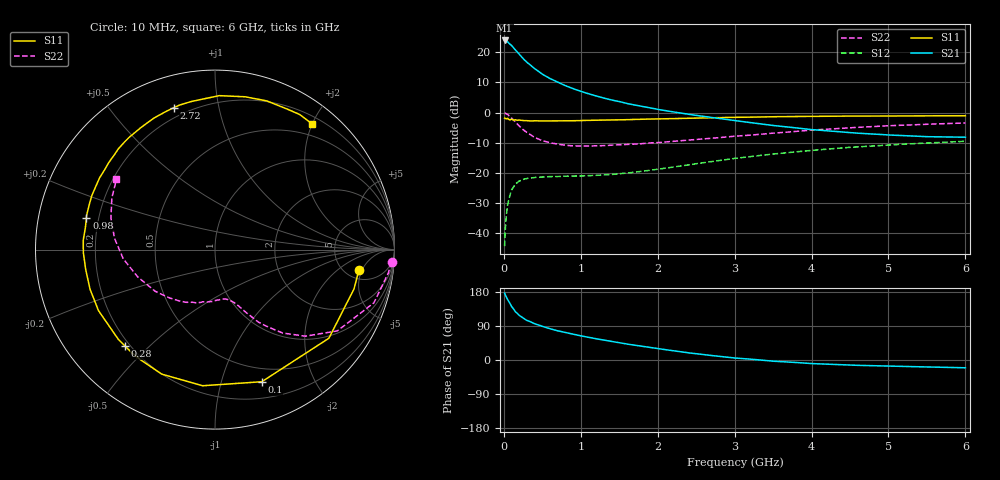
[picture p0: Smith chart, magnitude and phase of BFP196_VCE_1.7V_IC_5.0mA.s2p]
! Infineon Technologies  Discrete & RF Semiconductors
! BFP196
! VCE = 1.7 V,  IC = 5.0mA
! Common Emitter S-Parameters:  Jan 2016
# GHz  S  MA  R  50
!  f  S11  S21  S12  S22
! GHz  MAG  ANG  MAG  ANG  MAG  ANG  MAG  ANG
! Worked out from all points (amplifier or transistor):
!   210 points, 10 MHz to 6 GHz, reference 50 ohm
!   highest |S21| = 23.9 dB at 10 MHz (marker M1)
!   |S21| within 3 dB of that: start of sweep to 145.3 MHz
!   unconditionally stable (mu >= 1): 1.096 GHz to 3.394 GHz; 5.192951 GHz to 5.205737 GHz; 5.657 GHz to end of sweep
!   at 185 MHz: K = 0.20, MSG = 21.4 dB, |S12| = -23.0 dB
!   at 1.52 GHz: K = 1.20, MAG = 9.2 dB, |S12| = -20.3 dB
!   at 6 GHz: K = 1.01, MAG = 0.2 dB, |S12| = -9.5 dB
!   S11 on the Smith chart (normalised r, x): 10 MHz: 6.63, -4.35; 100 MHz: 0.36, -1.35; 280 MHz: 0.18, -0.42; 980 MHz: 0.15, +0.12; 2.72 GHz: 0.15, +0.74; 6 GHz: 0.31, +2.00
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0.01  0.8101 -8.0  15.72 176.6  0.0061 86.0  0.9862 -4.0
0.02  0.8049 -15.8  15.52 171.2  0.0123 80.2  0.975 -7.6
0.05  0.8041 -37.9  14.89 159.0  0.0298 70.6  0.9338 -18.5
0.1  0.7809 -70.5  13.02 141.5  0.0519 55.8  0.8184 -33.6
0.15  0.7617 -95.2  10.97 127.5  0.0653 44.6  0.697 -43.8
0.2  0.7546 -113.2  9.311 117.8  0.0733 37.4  0.5992 -50.9
0.24  0.7409 -124.1  8.14 111.9  0.077 33.2  0.5363 -54.6
0.28  0.7348 -133.0  7.237 106.9  0.0798 30.2  0.4887 -57.8
0.3  0.7349 -137.1  6.834 104.4  0.081 28.9  0.4676 -59.3
0.4  0.7329 -152.4  5.362 95.6  0.0841 24.3  0.3875 -63.9
0.5  0.7303 -162.5  4.34 88.6  0.0857 21.8  0.3423 -67.1
0.6  0.7289 -171.3  3.674 82.4  0.0869 20.7  0.3167 -69.7
0.7  0.7338 -178.8  3.187 77.0  0.0871 20.4  0.2994 -72.6
0.98  0.7382 166.1  2.298 64.7  0.0889 22.1  0.2794 -80.4
1.02  0.7407 164.1  2.211 63.1  0.0891 22.5  0.2792 -81.5
1.4  0.7571 148.0  1.618 49.0  0.0942 27.7  0.2893 -92.7
2.02  0.7879 126.8  1.122 29.5  0.1161 36.3  0.3196 -113.3
2.72  0.8233 106.2  0.823 11.4  0.1557 38.3  0.3773 -136.3
3.1  0.8377 96.9  0.711 3.9  0.1801 36.0  0.4139 -148.6
4.1  0.8684 77.2  0.511 -10.2  0.2419 26.3  0.5217 -176.9
5.1  0.8801 62.9  0.421 -16.7  0.2952 13.9  0.612 161.1
6  0.885 52.2  0.391 -20.6  0.3344 2.4  0.6746 144.5
